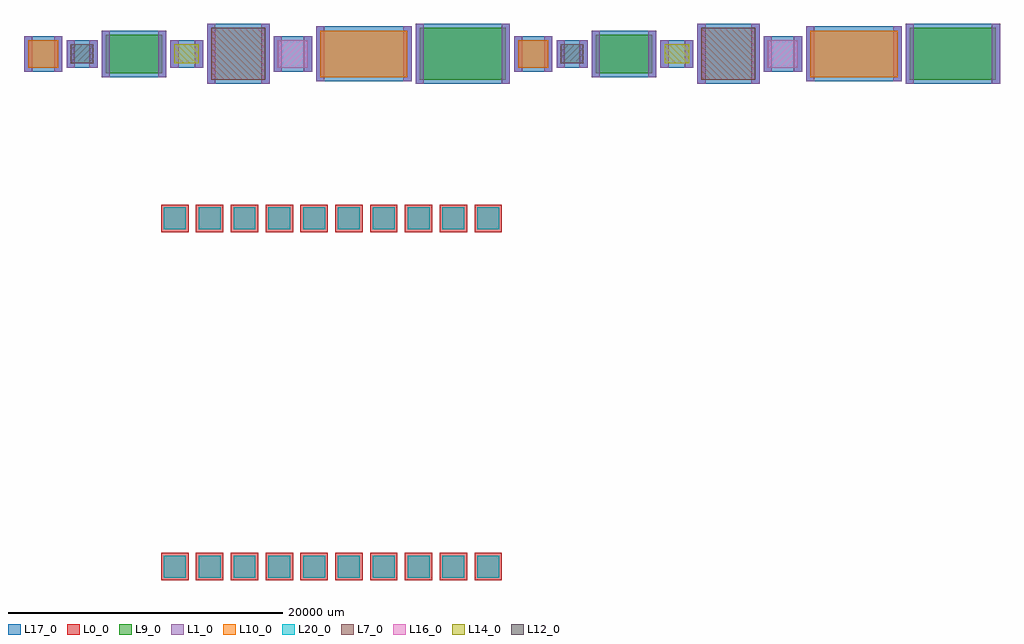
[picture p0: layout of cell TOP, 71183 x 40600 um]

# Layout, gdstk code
from math import pi, radians
import gdstk
lib = gdstk.Library(unit=1e-6, precision=1e-09)
def R(c, l, rs):  # rectangles x0, y0, x1, y1
    for r in rs: c.add(gdstk.rectangle(r[:2], r[2:], *l))
L0_0 = (0, 0)
L1_0 = (1, 0)
L7_0 = (7, 0)
L9_0 = (9, 0)
L10_0 = (10, 0)
L12_0 = (12, 0)
L14_0 = (14, 0)
L16_0 = (16, 0)
L17_0 = (17, 0)
L20_0 = (20, 0)

c_r1 = lib.new_cell('R1')
R(c_r1, L1_0, [(-1400,-1300,-800,1300), (800,-1300,1400,1300)])
R(c_r1, L10_0, [(-1100,-1000,1100,1000)])
R(c_r1, L17_0, [(-1400,-1300,1400,1300)])
c_r1.add(gdstk.Label('R1', (-480,-400), layer=23, texttype=0))

c_r2 = lib.new_cell('R2')
R(c_r2, L1_0, [(-1132,-1000,-532,1000), (532,-1000,1132,1000)])
R(c_r2, L12_0, [(-832,-700,832,700)])
R(c_r2, L17_0, [(-1132,-1000,1132,1000)])
c_r2.add(gdstk.Label('R2', (-336,-280), layer=23, texttype=0))

c_r3 = lib.new_cell('R3')
R(c_r3, L1_0, [(-2355,-1700,-1755,1700), (1755,-1700,2355,1700)])
R(c_r3, L9_0, [(-2055,-1400,2055,1400)])
R(c_r3, L17_0, [(-2355,-1700,2355,1700)])
c_r3.add(gdstk.Label('R3', (-672,-560), layer=23, texttype=0))

c_r4 = lib.new_cell('R4')
R(c_r4, L1_0, [(-1195,-1000,-595,1000), (595,-1000,1195,1000)])
R(c_r4, L14_0, [(-895,-700,895,700)])
R(c_r4, L17_0, [(-1195,-1000,1195,1000)])
c_r4.add(gdstk.Label('R4', (-336,-280), layer=23, texttype=0))

c_r5 = lib.new_cell('R5')
R(c_r5, L1_0, [(-2272,-2200,-1672,2200), (1672,-2200,2272,2200)])
R(c_r5, L7_0, [(-1972,-1900,1972,1900)])
R(c_r5, L17_0, [(-2272,-2200,2272,2200)])
c_r5.add(gdstk.Label('R5', (-912,-760), layer=23, texttype=0))

c_r6 = lib.new_cell('R6')
R(c_r6, L1_0, [(-1400,-1300,-800,1300), (800,-1300,1400,1300)])
R(c_r6, L16_0, [(-1100,-1000,1100,1000)])
R(c_r6, L17_0, [(-1400,-1300,1400,1300)])
c_r6.add(gdstk.Label('R6', (-480,-400), layer=23, texttype=0))

c_r7 = lib.new_cell('R7')
R(c_r7, L1_0, [(-3480,-2000,-2880,2000), (2880,-2000,3480,2000)])
R(c_r7, L10_0, [(-3180,-1700,3180,1700)])
R(c_r7, L17_0, [(-3480,-2000,3480,2000)])
c_r7.add(gdstk.Label('R7', (-816,-680), layer=23, texttype=0))

c_r8 = lib.new_cell('R8')
R(c_r8, L1_0, [(-3437,-2200,-2837,2200), (2837,-2200,3437,2200)])
R(c_r8, L9_0, [(-3137,-1900,3137,1900)])
R(c_r8, L17_0, [(-3437,-2200,3437,2200)])
c_r8.add(gdstk.Label('R8', (-912,-760), layer=23, texttype=0))

r1_1 = lib.new_cell('R1_1')
R(r1_1, L1_0, [(-1400,-1300,-800,1300), (800,-1300,1400,1300)])
R(r1_1, L10_0, [(-1100,-1000,1100,1000)])
R(r1_1, L17_0, [(-1400,-1300,1400,1300)])
r1_1.add(gdstk.Label('R1', (-480,-400), layer=23, texttype=0))

r2_1 = lib.new_cell('R2_1')
R(r2_1, L1_0, [(-1132,-1000,-532,1000), (532,-1000,1132,1000)])
R(r2_1, L12_0, [(-832,-700,832,700)])
R(r2_1, L17_0, [(-1132,-1000,1132,1000)])
r2_1.add(gdstk.Label('R2', (-336,-280), layer=23, texttype=0))

r3_1 = lib.new_cell('R3_1')
R(r3_1, L1_0, [(-2355,-1700,-1755,1700), (1755,-1700,2355,1700)])
R(r3_1, L9_0, [(-2055,-1400,2055,1400)])
R(r3_1, L17_0, [(-2355,-1700,2355,1700)])
r3_1.add(gdstk.Label('R3', (-672,-560), layer=23, texttype=0))

r4_1 = lib.new_cell('R4_1')
R(r4_1, L1_0, [(-1195,-1000,-595,1000), (595,-1000,1195,1000)])
R(r4_1, L14_0, [(-895,-700,895,700)])
R(r4_1, L17_0, [(-1195,-1000,1195,1000)])
r4_1.add(gdstk.Label('R4', (-336,-280), layer=23, texttype=0))

r5_1 = lib.new_cell('R5_1')
R(r5_1, L1_0, [(-2272,-2200,-1672,2200), (1672,-2200,2272,2200)])
R(r5_1, L7_0, [(-1972,-1900,1972,1900)])
R(r5_1, L17_0, [(-2272,-2200,2272,2200)])
r5_1.add(gdstk.Label('R5', (-912,-760), layer=23, texttype=0))

r6_1 = lib.new_cell('R6_1')
R(r6_1, L1_0, [(-1400,-1300,-800,1300), (800,-1300,1400,1300)])
R(r6_1, L16_0, [(-1100,-1000,1100,1000)])
R(r6_1, L17_0, [(-1400,-1300,1400,1300)])
r6_1.add(gdstk.Label('R6', (-480,-400), layer=23, texttype=0))

r7_1 = lib.new_cell('R7_1')
R(r7_1, L1_0, [(-3480,-2000,-2880,2000), (2880,-2000,3480,2000)])
R(r7_1, L10_0, [(-3180,-1700,3180,1700)])
R(r7_1, L17_0, [(-3480,-2000,3480,2000)])
r7_1.add(gdstk.Label('R7', (-816,-680), layer=23, texttype=0))

r8_1 = lib.new_cell('R8_1')
R(r8_1, L1_0, [(-3437,-2200,-2837,2200), (2837,-2200,3437,2200)])
R(r8_1, L9_0, [(-3137,-1900,3137,1900)])
R(r8_1, L17_0, [(-3437,-2200,3437,2200)])
r8_1.add(gdstk.Label('R8', (-912,-760), layer=23, texttype=0))

i_o_pad_2x2mm = lib.new_cell('I/O_Pad_2x2mm')
R(i_o_pad_2x2mm, L0_0, [(-1000,-1000,1000,1000)])
R(i_o_pad_2x2mm, L20_0, [(-800,-800,800,800)])

top = lib.new_cell('TOP')
top.add(gdstk.Reference(c_r1, (1400,0)))
top.add(gdstk.Reference(c_r2, (4232,0)))
top.add(gdstk.Reference(c_r3, (8019,0)))
top.add(gdstk.Reference(c_r4, (11868,0)))
top.add(gdstk.Reference(c_r5, (15635,0)))
top.add(gdstk.Reference(c_r6, (19607,0)))
top.add(gdstk.Reference(c_r7, (24787,0)))
top.add(gdstk.Reference(c_r8, (32004,0)))
top.add(gdstk.Reference(r1_1, (37142,0)))
top.add(gdstk.Reference(r2_1, (39974,0)))
top.add(gdstk.Reference(r3_1, (43760,0)))
top.add(gdstk.Reference(r4_1, (47610,0)))
top.add(gdstk.Reference(r5_1, (51377,0)))
top.add(gdstk.Reference(r6_1, (55349,0)))
top.add(gdstk.Reference(r7_1, (60529,0)))
top.add(gdstk.Reference(r8_1, (67746,0)))
r = gdstk.Reference(i_o_pad_2x2mm, (11000,-12000), rotation=3*pi/2); r.repetition = gdstk.Repetition(2, 10, v1=(0,-25400), v2=(2540,0)); top.add(r)

lib.write_gds('TOP.gds')
